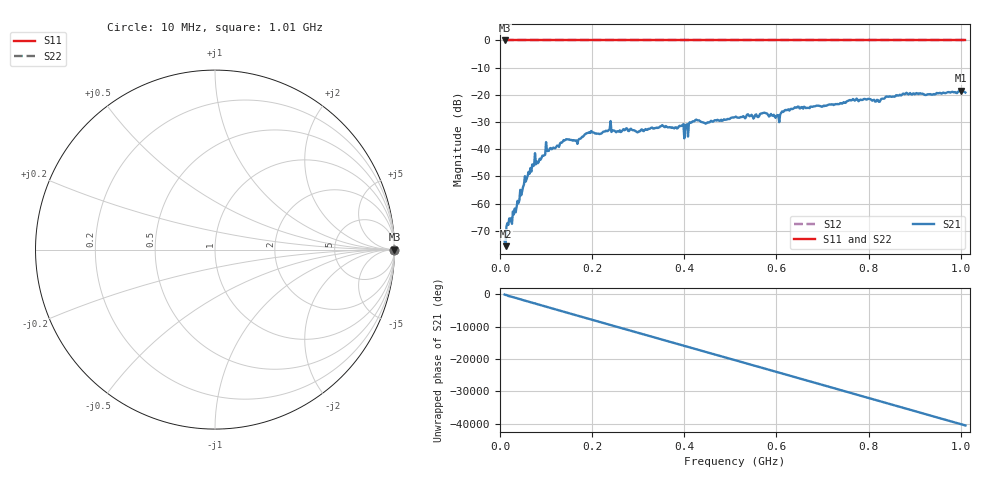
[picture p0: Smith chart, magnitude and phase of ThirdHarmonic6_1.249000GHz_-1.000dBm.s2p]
! 8/16/2025 1:20:28 PM
! C:\ANRITSUVNA\TEMP\TEMP.S2P
! CHANNEL.1
! TR.MEASUREMENT
! RAW.DATA
! RF.CORRECTION.OFF
! AVERAGING.OFF
! IF.BANDWIDTH: 5KHZ
! SWEEPTYPE:  FREQ.SWEEP(Linear)
! Reference Plane Port Info
! PORT:  PORT1  PORT2
! DISTANCE:  0  m  0  m
! TIME:  0  s  0  s
! PHASE.OFFSET:  0  deg.  0  deg.
! LOSS:  0  dB  0  dB
! REF.LOSS:  0  dB  0  dB
! REF.FREQ:  0  Hz  0  Hz
! Power Info
! POWER:  -20  dBm  -20  dBm
! EFF.POWER:  -20  dBm  -20  dBm
! SOURCE.ATTEN:  0  dB  0  dB
! TEST.ATTEN:  0  dB  0  dB
# GHZ S RI R 50.0
! FREQ.GHZ  S11RE  S11IM  S21RE  S21IM  S12RE  S12IM  S22RE  S22IM
!; PortSelection: Port_12
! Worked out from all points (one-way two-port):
!   501 points, 10 MHz to 1.01 GHz, reference 50 ohm
!   highest |S21| = -18.48 dB at 1 GHz (marker M1); lowest = -75.6 dB at 12 MHz (marker M2)
!   lowest |S11| = 0.0 dB at 10 MHz (marker M3)
!   |S11| at or under -10 dB: nowhere
!   |S22| runs from 0.0 to 0.0 dB; largest |S21 - S12| = 1.1
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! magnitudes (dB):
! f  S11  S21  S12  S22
! 10 MHz  0.0  -73.9  0.0  0.0
! 12 MHz  0.0  -75.6  0.0  0.0
! 18 MHz  0.0  -67.8  0.0  0.0
! 30 MHz  0.0  -64.0  0.0  0.0
! 58 MHz  0.0  -50.8  0.0  0.0
! 74 MHz  0.0  -45.9  0.0  0.0
! 104 MHz  0.0  -40.6  0.0  0.0
! 178 MHz  0.0  -35.4  0.0  0.0
! 236 MHz  0.0  -32.9  0.0  0.0
! 300 MHz  0.0  -33.7  0.0  0.0
! 344 MHz  0.0  -32.0  0.0  0.0
! 394 MHz  0.0  -31.4  0.0  0.0
! 404 MHz  0.0  -31.0  0.0  0.0
! 422 MHz  0.0  -29.7  0.0  0.0
! 510 MHz  0.0  -28.2  0.0  0.0
! 574 MHz  0.0  -26.6  0.0  0.0
! 602 MHz  0.0  -27.4  0.0  0.0
! 622 MHz  0.0  -25.6  0.0  0.0
! 678 MHz  0.0  -24.4  0.0  0.0
! 844 MHz  0.0  -20.7  0.0  0.0
! 1 GHz  0.0  -18.5  0.0  0.0
! 1.01 GHz  0.0  -19.2  0.0  0.0
